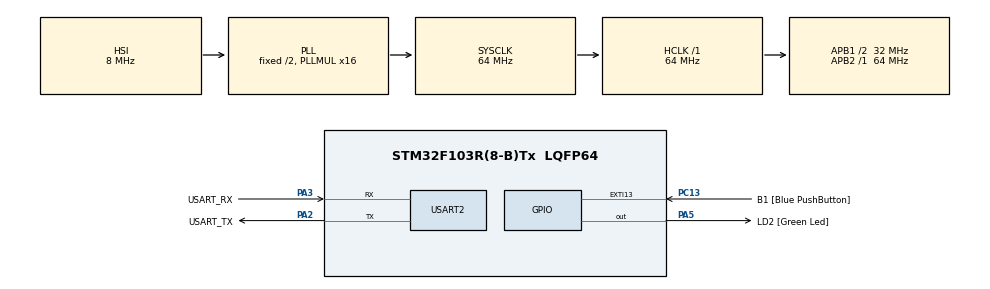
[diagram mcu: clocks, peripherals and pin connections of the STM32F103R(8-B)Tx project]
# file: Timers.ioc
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Mcu.Family=STM32F1
Mcu.Name=STM32F103R(8-B)Tx
Mcu.Package=LQFP64
NVIC.EXTI15_10_IRQn=true\:0\:0\:false\:false\:true\:true\:true\:true
NVIC.PriorityGroup=NVIC_PRIORITYGROUP_4
NVIC.TIM2_IRQn=true\:0\:0\:false\:false\:true\:true\:true\:true
PA13.GPIO_Label=TMS
PA13.Mode=Serial_Wire
PA13.Signal=SYS_JTMS-SWDIO
PA14.GPIO_Label=TCK
PA14.Mode=Serial_Wire
PA14.Signal=SYS_JTCK-SWCLK
PA2.GPIO_Label=USART_TX
PA2.GPIO_Mode=GPIO_MODE_AF_PP
PA2.GPIO_PuPd=GPIO_NOPULL
PA2.GPIO_Speed=GPIO_SPEED_FREQ_LOW
PA2.Mode=Asynchronous
PA2.Signal=USART2_TX
PA3.GPIO_Label=USART_RX
PA3.GPIO_Mode=GPIO_MODE_AF_PP
PA3.GPIO_PuPd=GPIO_NOPULL
PA3.GPIO_Speed=GPIO_SPEED_FREQ_LOW
PA3.Mode=Asynchronous
PA3.Signal=USART2_RX
PA5.GPIO_Label=LD2 [Green Led]
PA5.GPIO_ModeDefaultOutputPP=GPIO_MODE_OUTPUT_PP
PA5.GPIO_PuPd=GPIO_NOPULL
PA5.GPIO_Speed=GPIO_SPEED_FREQ_LOW
PA5.Signal=GPIO_Output
PB3.GPIO_Label=SWO
PB3.Signal=SYS_JTDO-TRACESWO
PC13-TAMPER-RTC.GPIO_Label=B1 [Blue PushButton]
PC13-TAMPER-RTC.GPIO_PuPd=GPIO_NOPULL
PC13-TAMPER-RTC.Signal=GPXTI13
PC14-OSC32_IN.Mode=LSE-External-Oscillator
PC14-OSC32_IN.Signal=RCC_OSC32_IN
PC15-OSC32_OUT.Mode=LSE-External-Oscillator
PC15-OSC32_OUT.Signal=RCC_OSC32_OUT
PD0-OSC_IN.Mode=HSE-External-Clock-Source
PD0-OSC_IN.Signal=RCC_OSC_IN
PD1-OSC_OUT.Mode=HSE-External-Clock-Source
PD1-OSC_OUT.Signal=RCC_OSC_OUT
ProjectManager.HeapSize=0x200
ProjectManager.StackSize=0x400
ProjectManager.TargetToolchain=STM32CubeIDE
RCC.AHBFreq_Value=64000000
RCC.APB1CLKDivider=RCC_HCLK_DIV2
RCC.APB1Freq_Value=32000000
RCC.APB1TimFreq_Value=64000000
RCC.APB2Freq_Value=64000000
RCC.APB2TimFreq_Value=64000000
RCC.HCLKFreq_Value=64000000
RCC.PLLMUL=RCC_PLL_MUL16
RCC.RTCClockSelection=RCC_RTCCLKSOURCE_LSE
RCC.SYSCLKFreq_VALUE=64000000
RCC.SYSCLKSource=RCC_SYSCLKSOURCE_PLLCLK
RCC.USBFreq_Value=64000000
TIM2.AutoReloadPreload=TIM_AUTORELOAD_PRELOAD_DISABLE
TIM2.Period=500
TIM2.Prescaler=63999
TIM2.TIM_MasterOutputTrigger=TIM_TRGO_UPDATE
USART2.VirtualMode=VM_ASYNC
VP_TIM2_VS_ClockSourceINT.Mode=Internal
board=NUCLEO-F103RB

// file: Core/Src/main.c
/* USER CODE BEGIN Header */
/**
  ******************************************************************************
  * @file           : main.c
  * @brief          : Main program body
  ******************************************************************************
  * @attention
  *
  * Copyright (c) 2025 STMicroelectronics.
  * All rights reserved.
  *
  * This software is licensed under terms that can be found in the LICENSE file
  * in the root directory of this software component.
  * If no LICENSE file comes with this software, it is provided AS-IS.
  *
  ******************************************************************************
  */
/* USER CODE END Header */
#include "main.h"

/* USER CODE BEGIN PD */
//#define POLLING
#define INTERRUPT
/* USER CODE END PD */

TIM_HandleTypeDef htim2;

UART_HandleTypeDef huart2;

/* USER CODE BEGIN PV */
uint32_t time = 0;
uint32_t Callback_Counter = 0;
/* USER CODE END PV */

void SystemClock_Config(void);
static void MX_GPIO_Init(void);
static void MX_USART2_UART_Init(void);
static void MX_TIM2_Init(void);

/* USER CODE BEGIN 0 */
#ifdef INTERRUPT

//defino la función de callback. La verdad que no la entiendo tanto, pero así lo hace donald

void HAL_TIM_PeriodElapsedCallback(TIM_HandleTypeDef *htim){
	Callback_Counter++;
	if(htim->Instance == TIM2){
		HAL_GPIO_TogglePin(LD2_GPIO_Port, LD2_Pin);
	}
}

#endif
/* USER CODE END 0 */

#ifdef POLLING
int main(void)
{

  /* MCU Configuration--------------------------------------------------------*/

  /* Reset of all peripherals, Initializes the Flash interface and the Systick. */
  HAL_Init();

  /* Configure the system clock */
  SystemClock_Config();

  /* Initialize all configured peripherals */
  MX_GPIO_Init();
  MX_USART2_UART_Init();
  MX_TIM2_Init();
  /* USER CODE BEGIN 2 */
  __HAL_TIM_SET_COUNTER(&htim2, 0);
  /* USER CODE END 2 */

  /* Infinite loop */
  /* USER CODE BEGIN WHILE */
  while (1)
  {
	 time = __HAL_TIM_GET_COUNTER(&htim2);
	 if(time == 0){
		 HAL_GPIO_TogglePin(LD2_GPIO_Port, LD2_Pin);
	 }
    /* USER CODE END WHILE */

  }
}
#endif

#ifdef INTERRUPT
int main(void)
{

  /* MCU Configuration--------------------------------------------------------*/

  /* Reset of all peripherals, Initializes the Flash interface and the Systick. */
  HAL_Init();

  /* Configure the system clock */
  SystemClock_Config();

  /* Initialize all configured peripherals */
  MX_GPIO_Init();
  MX_USART2_UART_Init();
  MX_TIM2_Init();
  /* USER CODE BEGIN 2 */

  //inicializar el timer como generador de interrupciones
  HAL_TIM_Base_Start_IT(&htim2);

  //asignar prioridad y habilitar las interrupciines
  HAL_NVIC_SetPriority(TIM2_IRQn, 0, 0);
  HAL_NVIC_EnableIRQ(TIM2_IRQn);
  /* USER CODE END 2 */

  /* Infinite loop */
  /* USER CODE BEGIN WHILE */
  while (1)
  {
	  //observación: acá no va nada
	time = __HAL_TIM_GET_COUNTER(&htim2);
    /* USER CODE END WHILE */

  }
}
#endif
void SystemClock_Config(void)
{
  RCC_OscInitTypeDef RCC_OscInitStruct = {0};
  RCC_ClkInitTypeDef RCC_ClkInitStruct = {0};

  /** Initializes the RCC Oscillators according to the specified parameters
  * in the RCC_OscInitTypeDef structure.
  */
  RCC_OscInitStruct.OscillatorType = RCC_OSCILLATORTYPE_HSI;
  RCC_OscInitStruct.HSIState = RCC_HSI_ON;
  RCC_OscInitStruct.HSICalibrationValue = RCC_HSICALIBRATION_DEFAULT;
  RCC_OscInitStruct.PLL.PLLState = RCC_PLL_ON;
  RCC_OscInitStruct.PLL.PLLSource = RCC_PLLSOURCE_HSI_DIV2;
  RCC_OscInitStruct.PLL.PLLMUL = RCC_PLL_MUL16;
  if (HAL_RCC_OscConfig(&RCC_OscInitStruct) != HAL_OK)
  {
    Error_Handler();
  }

  /** Initializes the CPU, AHB and APB buses clocks
  */
  RCC_ClkInitStruct.ClockType = RCC_CLOCKTYPE_HCLK|RCC_CLOCKTYPE_SYSCLK
                              |RCC_CLOCKTYPE_PCLK1|RCC_CLOCKTYPE_PCLK2;
  RCC_ClkInitStruct.SYSCLKSource = RCC_SYSCLKSOURCE_PLLCLK;
  RCC_ClkInitStruct.AHBCLKDivider = RCC_SYSCLK_DIV1;
  RCC_ClkInitStruct.APB1CLKDivider = RCC_HCLK_DIV2;
  RCC_ClkInitStruct.APB2CLKDivider = RCC_HCLK_DIV1;

  if (HAL_RCC_ClockConfig(&RCC_ClkInitStruct, FLASH_LATENCY_2) != HAL_OK)
  {
    Error_Handler();
  }
}

static void MX_TIM2_Init(void)
{

  TIM_ClockConfigTypeDef sClockSourceConfig = {0};
  TIM_MasterConfigTypeDef sMasterConfig = {0};

  htim2.Instance = TIM2;
  htim2.Init.Prescaler = 63999;
  htim2.Init.CounterMode = TIM_COUNTERMODE_UP;
  htim2.Init.Period = 500;
  htim2.Init.ClockDivision = TIM_CLOCKDIVISION_DIV1;
  htim2.Init.AutoReloadPreload = TIM_AUTORELOAD_PRELOAD_DISABLE;
  if (HAL_TIM_Base_Init(&htim2) != HAL_OK)
  {
    Error_Handler();
  }
  sClockSourceConfig.ClockSource = TIM_CLOCKSOURCE_INTERNAL;
  if (HAL_TIM_ConfigClockSource(&htim2, &sClockSourceConfig) != HAL_OK)
  {
    Error_Handler();
  }
  sMasterConfig.MasterOutputTrigger = TIM_TRGO_UPDATE;
  sMasterConfig.MasterSlaveMode = TIM_MASTERSLAVEMODE_DISABLE;
  if (HAL_TIMEx_MasterConfigSynchronization(&htim2, &sMasterConfig) != HAL_OK)
  {
    Error_Handler();
  }
  /* USER CODE BEGIN TIM2_Init 2 */
/*
####################################################
######MUY IMPORTANTE ESTA LINEA#####################
####################################################
*/
#ifdef POLLING
  HAL_TIM_Base_Start(&htim2);
  //sin esta linea, el timer no empieza
#endif
  /* USER CODE END TIM2_Init 2 */

}

static void MX_USART2_UART_Init(void)
{

  huart2.Instance = USART2;
  huart2.Init.BaudRate = 115200;
  huart2.Init.WordLength = UART_WORDLENGTH_8B;
  huart2.Init.StopBits = UART_STOPBITS_1;
  huart2.Init.Parity = UART_PARITY_NONE;
  huart2.Init.Mode = UART_MODE_TX_RX;
  huart2.Init.HwFlowCtl = UART_HWCONTROL_NONE;
  huart2.Init.OverSampling = UART_OVERSAMPLING_16;
  if (HAL_UART_Init(&huart2) != HAL_OK)
  {
    Error_Handler();
  }

}

static void MX_GPIO_Init(void)
{
  GPIO_InitTypeDef GPIO_InitStruct = {0};

  /* GPIO Ports Clock Enable */
  __HAL_RCC_GPIOC_CLK_ENABLE();
  __HAL_RCC_GPIOD_CLK_ENABLE();
  __HAL_RCC_GPIOA_CLK_ENABLE();
  __HAL_RCC_GPIOB_CLK_ENABLE();

  /*Configure GPIO pin Output Level */
  HAL_GPIO_WritePin(LD2_GPIO_Port, LD2_Pin, GPIO_PIN_RESET);

  /*Configure GPIO pin : B1_Pin */
  GPIO_InitStruct.Pin = B1_Pin;
  GPIO_InitStruct.Mode = GPIO_MODE_IT_RISING;
  GPIO_InitStruct.Pull = GPIO_NOPULL;
  HAL_GPIO_Init(B1_GPIO_Port, &GPIO_InitStruct);

  /*Configure GPIO pin : LD2_Pin */
  GPIO_InitStruct.Pin = LD2_Pin;
  GPIO_InitStruct.Mode = GPIO_MODE_OUTPUT_PP;
  GPIO_InitStruct.Pull = GPIO_NOPULL;
  GPIO_InitStruct.Speed = GPIO_SPEED_FREQ_LOW;
  HAL_GPIO_Init(LD2_GPIO_Port, &GPIO_InitStruct);

  /* EXTI interrupt init*/
  HAL_NVIC_SetPriority(EXTI15_10_IRQn, 0, 0);
  HAL_NVIC_EnableIRQ(EXTI15_10_IRQn);

}

void Error_Handler(void)
{
  __disable_irq();
  while (1)
  {
  }
}
